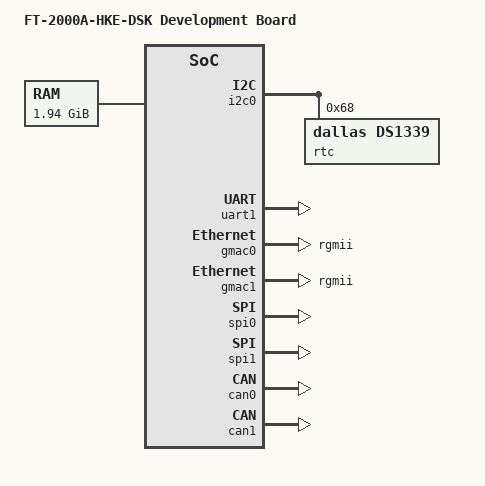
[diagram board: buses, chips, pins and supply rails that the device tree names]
// SPDX-License-Identifier: GPL-2.0
/*
 * DTS file for Phytium FT-2000A/2 devboard (FT-2000A-HKE-DSK series)
 *
 * Copyright (C) 2021, Phytium Techonlogy Co., Ltd.
 */

/dts-v1/;

#include "ft2000ahke-generic-psci-soc.dtsi"

/ {
	model = "FT-2000A-HKE-DSK Development Board";
	compatible = "phytium,ft-2000ahke";
	#address-cells = <2>;
	#size-cells = <2>;

	chosen {
		linux,pci-probe-only = <1>;
	};

	memory {
		device_type = "memory";
		reg = <0x0 0x80000000 0x0 0x7C000000>;
	};
};

&i2c0 {
	status = "ok";
	rtc@68 {
		compatible = "dallas,ds1339";
		reg = <0x68>;
	};
};

&uart1 {
	status = "ok";
};

&gmac0 {
	status = "ok";
	phy-mode = "rgmii";
};

&gmac1 {
	status = "ok";
	phy-mode = "rgmii";
};

&gpio {
	status = "ok";
};

&spi0 {
	status = "ok";
};

&spi1 {
	status = "ok";
};

&can0 {
	status = "ok";
};

&can1 {
	status = "ok";
};
